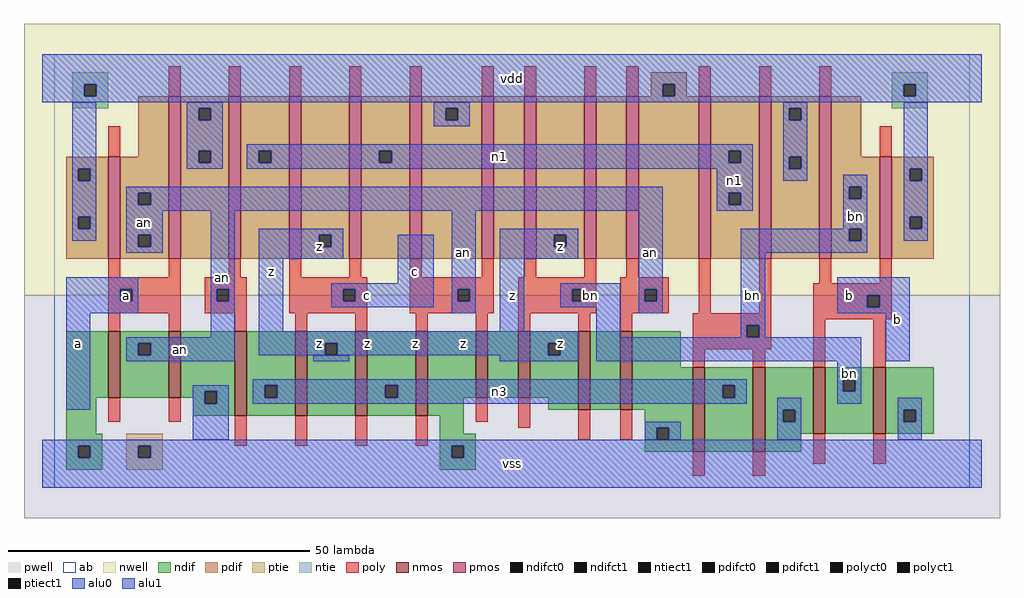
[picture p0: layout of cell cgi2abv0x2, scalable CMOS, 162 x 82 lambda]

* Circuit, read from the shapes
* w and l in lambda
.subckt cgi2abv0x2 a an b bn c n1 n3 vdd vss z
M1 an a vss vss nfet w=11 l=2 m=2
M2 n3 an vss vss nfet w=14 l=2 m=2
M3 z c n3 vss nfet w=14 l=2 m=2
M4 n2 an vss vss nfet w=11 l=2
M5 z bn n2 vss nfet w=11 l=2
M6 n4 bn z vss nfet w=13 l=2
M7 vss an n4 vss nfet w=13 l=2
M8 n3 bn vss vss nfet w=14 l=2 m=2
M9 bn b vss vss nfet w=11 l=2 m=2
M10 an a vdd vdd pfet w=17 l=2
M11 vdd a an vdd pfet w=27 l=2
M12 n1 an vdd vdd pfet w=27 l=2 m=2
M13 z c n1 vdd pfet w=27 l=2 m=2
M14 n5 an vdd vdd pfet w=27 l=2
M15 z bn n5 vdd pfet w=27 l=2
M16 n6 bn z vdd pfet w=27 l=2
M17 vdd an n6 vdd pfet w=27 l=2
M18 n1 bn vdd vdd pfet w=27 l=2 m=2
M19 bn b vdd vdd pfet w=27 l=2
M20 vdd b bn vdd pfet w=17 l=2
.ends

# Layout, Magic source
magic
tech scmos
<< ab >>
rect 0 0 152 72
<< nwell >>
rect -5 32 157 77
<< pwell >>
rect -5 -5 157 32
<< poly >>
rect 19 65 21 70
rect 29 65 31 70
rect 39 65 41 70
rect 49 65 51 70
rect 59 65 61 70
rect 71 65 73 70
rect 78 65 80 70
rect 88 65 90 70
rect 95 65 97 70
rect 107 65 109 70
rect 117 65 119 70
rect 127 65 129 70
rect 9 55 11 60
rect 137 55 139 60
rect 9 35 11 38
rect 19 35 21 38
rect 29 35 31 38
rect 39 35 41 38
rect 49 35 51 38
rect 59 35 61 38
rect 71 35 73 38
rect 78 35 80 38
rect 88 35 90 38
rect 95 35 97 38
rect 9 33 21 35
rect 9 31 11 33
rect 13 31 21 33
rect 9 29 21 31
rect 25 33 32 35
rect 25 31 27 33
rect 29 31 32 33
rect 25 29 32 31
rect 39 33 52 35
rect 39 31 48 33
rect 50 31 52 33
rect 39 29 52 31
rect 59 33 73 35
rect 59 31 67 33
rect 69 31 73 33
rect 59 29 73 31
rect 77 33 90 35
rect 77 31 86 33
rect 88 31 90 33
rect 77 29 90 31
rect 94 33 102 35
rect 94 31 98 33
rect 100 31 102 33
rect 94 29 102 31
rect 107 29 109 38
rect 117 29 119 38
rect 127 34 129 38
rect 137 34 139 38
rect 9 26 11 29
rect 19 26 21 29
rect 30 26 32 29
rect 40 26 42 29
rect 50 26 52 29
rect 60 26 62 29
rect 70 26 72 29
rect 77 26 79 29
rect 87 26 89 29
rect 94 26 96 29
rect 106 27 119 29
rect 9 11 11 15
rect 19 11 21 15
rect 30 7 32 12
rect 40 7 42 12
rect 50 7 52 12
rect 60 7 62 12
rect 70 11 72 15
rect 77 10 79 15
rect 106 25 115 27
rect 117 25 119 27
rect 106 23 119 25
rect 126 32 139 34
rect 126 30 135 32
rect 137 30 139 32
rect 126 28 139 30
rect 106 20 108 23
rect 116 20 118 23
rect 126 20 128 28
rect 136 20 138 28
rect 87 8 89 13
rect 94 8 96 13
rect 106 2 108 6
rect 116 2 118 6
rect 126 4 128 9
rect 136 4 138 9
<< ndif >>
rect 2 15 9 26
rect 11 24 19 26
rect 11 22 14 24
rect 16 22 19 24
rect 11 15 19 22
rect 21 16 30 26
rect 21 15 25 16
rect 2 9 7 15
rect 23 14 25 15
rect 27 14 30 16
rect 23 12 30 14
rect 32 17 40 26
rect 32 15 35 17
rect 37 15 40 17
rect 32 12 40 15
rect 42 24 50 26
rect 42 22 45 24
rect 47 22 50 24
rect 42 12 50 22
rect 52 17 60 26
rect 52 15 55 17
rect 57 15 60 17
rect 52 12 60 15
rect 62 15 70 26
rect 72 15 77 26
rect 79 24 87 26
rect 79 22 82 24
rect 84 22 87 24
rect 79 15 87 22
rect 62 12 68 15
rect 2 7 8 9
rect 2 5 4 7
rect 6 5 8 7
rect 2 3 8 5
rect 64 9 68 12
rect 82 13 87 15
rect 89 13 94 26
rect 96 20 104 26
rect 96 13 106 20
rect 64 7 70 9
rect 98 10 106 13
rect 98 8 100 10
rect 102 8 106 10
rect 64 5 66 7
rect 68 5 70 7
rect 98 6 106 8
rect 108 17 116 20
rect 108 15 111 17
rect 113 15 116 17
rect 108 6 116 15
rect 118 13 126 20
rect 118 11 121 13
rect 123 11 126 13
rect 118 9 126 11
rect 128 18 136 20
rect 128 16 131 18
rect 133 16 136 18
rect 128 9 136 16
rect 138 13 146 20
rect 138 11 141 13
rect 143 11 146 13
rect 138 9 146 11
rect 118 6 124 9
rect 64 3 70 5
<< pdif >>
rect 99 67 105 69
rect 99 65 101 67
rect 103 65 105 67
rect 14 55 19 65
rect 2 53 9 55
rect 2 51 4 53
rect 6 51 9 53
rect 2 45 9 51
rect 2 43 4 45
rect 6 43 9 45
rect 2 38 9 43
rect 11 49 19 55
rect 11 47 14 49
rect 16 47 19 49
rect 11 42 19 47
rect 11 40 14 42
rect 16 40 19 42
rect 11 38 19 40
rect 21 63 29 65
rect 21 61 24 63
rect 26 61 29 63
rect 21 56 29 61
rect 21 54 24 56
rect 26 54 29 56
rect 21 38 29 54
rect 31 56 39 65
rect 31 54 34 56
rect 36 54 39 56
rect 31 38 39 54
rect 41 42 49 65
rect 41 40 44 42
rect 46 40 49 42
rect 41 38 49 40
rect 51 56 59 65
rect 51 54 54 56
rect 56 54 59 56
rect 51 38 59 54
rect 61 63 71 65
rect 61 61 65 63
rect 67 61 71 63
rect 61 38 71 61
rect 73 38 78 65
rect 80 42 88 65
rect 80 40 83 42
rect 85 40 88 42
rect 80 38 88 40
rect 90 38 95 65
rect 97 38 107 65
rect 109 56 117 65
rect 109 54 112 56
rect 114 54 117 56
rect 109 49 117 54
rect 109 47 112 49
rect 114 47 117 49
rect 109 38 117 47
rect 119 63 127 65
rect 119 61 122 63
rect 124 61 127 63
rect 119 55 127 61
rect 119 53 122 55
rect 124 53 127 55
rect 119 38 127 53
rect 129 55 134 65
rect 129 50 137 55
rect 129 48 132 50
rect 134 48 137 50
rect 129 43 137 48
rect 129 41 132 43
rect 134 41 137 43
rect 129 38 137 41
rect 139 53 146 55
rect 139 51 142 53
rect 144 51 146 53
rect 139 45 146 51
rect 139 43 142 45
rect 144 43 146 45
rect 139 38 146 43
<< alu1 >>
rect -2 67 154 72
rect -2 65 5 67
rect 7 65 101 67
rect 103 65 141 67
rect 143 65 154 67
rect -2 64 154 65
rect 2 33 14 35
rect 2 31 11 33
rect 13 31 14 33
rect 2 29 14 31
rect 2 13 6 29
rect 34 42 48 43
rect 34 40 44 42
rect 46 40 48 42
rect 34 38 48 40
rect 34 26 38 38
rect 57 34 63 42
rect 46 33 63 34
rect 46 31 48 33
rect 50 31 63 33
rect 46 30 63 31
rect 74 42 87 43
rect 74 40 83 42
rect 85 40 87 42
rect 74 38 87 40
rect 74 26 78 38
rect 34 24 87 26
rect 34 22 45 24
rect 47 22 82 24
rect 84 22 87 24
rect 74 21 87 22
rect 130 32 142 35
rect 130 30 135 32
rect 137 30 142 32
rect 130 29 142 30
rect 138 21 142 29
rect -2 7 154 8
rect -2 5 4 7
rect 6 5 14 7
rect 16 5 66 7
rect 68 5 154 7
rect -2 0 154 5
<< ptie >>
rect 12 7 18 9
rect 12 5 14 7
rect 16 5 18 7
rect 12 3 18 5
<< ntie >>
rect 3 67 9 69
rect 3 65 5 67
rect 7 65 9 67
rect 139 67 145 69
rect 139 65 141 67
rect 143 65 145 67
rect 3 63 9 65
rect 139 63 145 65
<< nmos >>
rect 9 15 11 26
rect 19 15 21 26
rect 30 12 32 26
rect 40 12 42 26
rect 50 12 52 26
rect 60 12 62 26
rect 70 15 72 26
rect 77 15 79 26
rect 87 13 89 26
rect 94 13 96 26
rect 106 6 108 20
rect 116 6 118 20
rect 126 9 128 20
rect 136 9 138 20
<< pmos >>
rect 9 38 11 55
rect 19 38 21 65
rect 29 38 31 65
rect 39 38 41 65
rect 49 38 51 65
rect 59 38 61 65
rect 71 38 73 65
rect 78 38 80 65
rect 88 38 90 65
rect 95 38 97 65
rect 107 38 109 65
rect 117 38 119 65
rect 127 38 129 65
rect 137 38 139 55
<< polyct0 >>
rect 27 31 29 33
rect 67 31 69 33
rect 86 31 88 33
rect 98 31 100 33
rect 115 25 117 27
<< polyct1 >>
rect 11 31 13 33
rect 48 31 50 33
rect 135 30 137 32
<< ndifct0 >>
rect 14 22 16 24
rect 25 14 27 16
rect 35 15 37 17
rect 55 15 57 17
rect 100 8 102 10
rect 111 15 113 17
rect 121 11 123 13
rect 131 16 133 18
rect 141 11 143 13
<< ndifct1 >>
rect 45 22 47 24
rect 82 22 84 24
rect 4 5 6 7
rect 66 5 68 7
<< ntiect1 >>
rect 5 65 7 67
rect 141 65 143 67
<< ptiect1 >>
rect 14 5 16 7
<< pdifct0 >>
rect 4 51 6 53
rect 4 43 6 45
rect 14 47 16 49
rect 14 40 16 42
rect 24 61 26 63
rect 24 54 26 56
rect 34 54 36 56
rect 54 54 56 56
rect 65 61 67 63
rect 112 54 114 56
rect 112 47 114 49
rect 122 61 124 63
rect 122 53 124 55
rect 132 48 134 50
rect 132 41 134 43
rect 142 51 144 53
rect 142 43 144 45
<< pdifct1 >>
rect 101 65 103 67
rect 44 40 46 42
rect 83 40 85 42
<< alu0 >>
rect 3 53 7 64
rect 22 63 28 64
rect 22 61 24 63
rect 26 61 28 63
rect 22 56 28 61
rect 63 63 69 64
rect 63 61 65 63
rect 67 61 69 63
rect 63 60 69 61
rect 121 63 125 64
rect 121 61 122 63
rect 124 61 125 63
rect 22 54 24 56
rect 26 54 28 56
rect 22 53 28 54
rect 32 56 116 57
rect 32 54 34 56
rect 36 54 54 56
rect 56 54 112 56
rect 114 54 116 56
rect 32 53 116 54
rect 3 51 4 53
rect 6 51 7 53
rect 3 45 7 51
rect 3 43 4 45
rect 6 43 7 45
rect 3 41 7 43
rect 12 49 101 50
rect 12 47 14 49
rect 16 47 101 49
rect 12 46 101 47
rect 110 49 116 53
rect 121 55 125 61
rect 121 53 122 55
rect 124 53 125 55
rect 121 51 125 53
rect 141 53 145 64
rect 110 47 112 49
rect 114 47 116 49
rect 110 46 116 47
rect 131 50 135 52
rect 131 48 132 50
rect 134 48 135 50
rect 12 42 18 46
rect 12 40 14 42
rect 16 40 18 42
rect 12 39 18 40
rect 26 33 30 46
rect 26 31 27 33
rect 29 31 30 33
rect 26 25 30 31
rect 12 24 30 25
rect 12 22 14 24
rect 16 22 30 24
rect 66 33 70 46
rect 66 31 67 33
rect 69 31 70 33
rect 66 29 70 31
rect 84 33 94 34
rect 84 31 86 33
rect 88 31 94 33
rect 84 30 94 31
rect 12 21 30 22
rect 43 21 49 22
rect 90 25 94 30
rect 97 33 101 46
rect 131 43 135 48
rect 97 31 98 33
rect 100 31 101 33
rect 97 29 101 31
rect 114 41 132 43
rect 134 41 135 43
rect 141 51 142 53
rect 144 51 145 53
rect 141 45 145 51
rect 141 43 142 45
rect 144 43 145 45
rect 141 41 145 43
rect 114 39 135 41
rect 114 27 118 39
rect 114 25 115 27
rect 117 25 118 27
rect 90 21 134 25
rect 130 18 134 21
rect 33 17 115 18
rect 23 16 29 17
rect 23 14 25 16
rect 27 14 29 16
rect 33 15 35 17
rect 37 15 55 17
rect 57 15 111 17
rect 113 15 115 17
rect 130 16 131 18
rect 133 16 134 18
rect 33 14 115 15
rect 23 8 29 14
rect 120 13 124 15
rect 130 14 134 16
rect 120 11 121 13
rect 123 11 124 13
rect 98 10 104 11
rect 98 8 100 10
rect 102 8 104 10
rect 120 8 124 11
rect 140 13 144 15
rect 140 11 141 13
rect 143 11 144 13
rect 140 8 144 11
<< labels >>
rlabel alu0 21 23 21 23 6 an
rlabel alu0 28 35 28 35 6 an
rlabel alu0 15 44 15 44 6 an
rlabel alu0 68 39 68 39 6 an
rlabel alu0 89 32 89 32 6 bn
rlabel alu0 99 39 99 39 6 an
rlabel alu0 74 16 74 16 6 n3
rlabel alu0 132 19 132 19 6 bn
rlabel alu0 116 32 116 32 6 bn
rlabel alu0 133 45 133 45 6 bn
rlabel alu0 113 51 113 51 6 n1
rlabel alu0 74 55 74 55 6 n1
rlabel alu1 4 24 4 24 6 a
rlabel polyct1 12 32 12 32 6 a
rlabel alu1 68 24 68 24 6 z
rlabel alu1 60 24 60 24 6 z
rlabel alu1 52 32 52 32 6 c
rlabel alu1 52 24 52 24 6 z
rlabel alu1 44 24 44 24 6 z
rlabel alu1 44 40 44 40 6 z
rlabel alu1 60 36 60 36 6 c
rlabel alu1 36 36 36 36 6 z
rlabel alu1 76 4 76 4 6 vss
rlabel alu1 76 32 76 32 6 z
rlabel alu1 84 24 84 24 6 z
rlabel alu1 84 40 84 40 6 z
rlabel alu1 76 68 76 68 6 vdd
rlabel alu1 132 32 132 32 6 b
rlabel alu1 140 28 140 28 6 b
<< end >>
